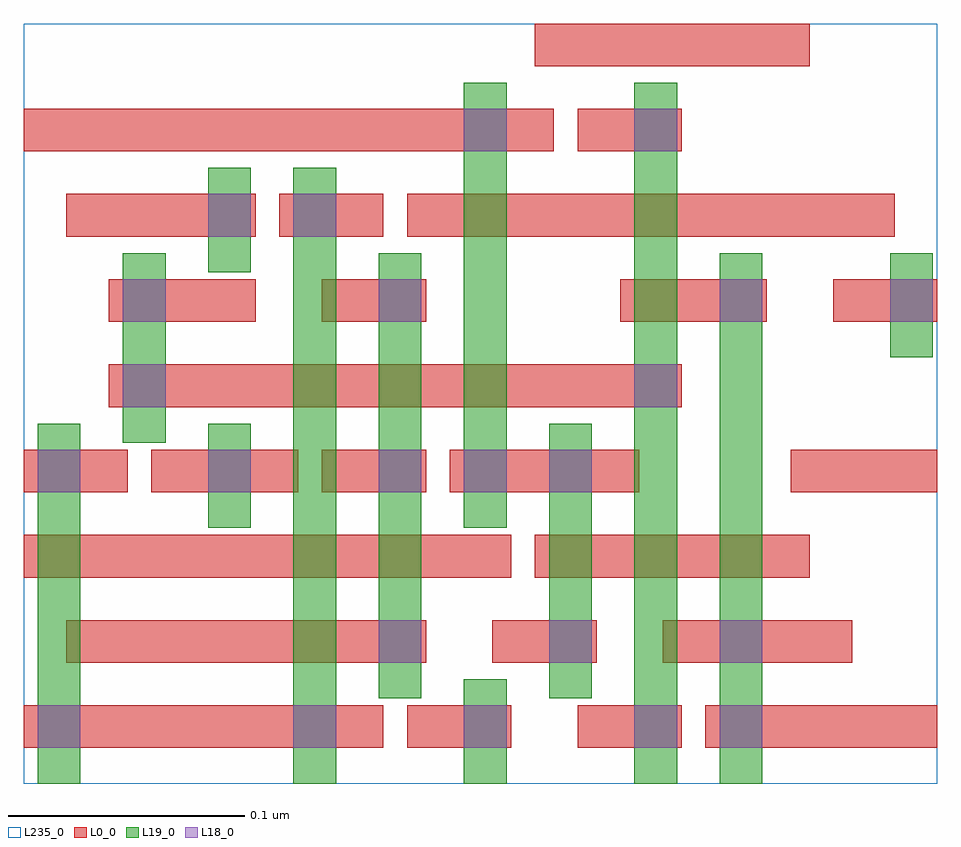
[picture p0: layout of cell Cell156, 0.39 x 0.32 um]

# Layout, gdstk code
import gdstk
lib = gdstk.Library(unit=1e-6, precision=2.5e-10)
def R(c, l, rs):  # rectangles x0, y0, x1, y1
    for r in rs: c.add(gdstk.rectangle(r[:2], r[2:], *l))
def A(c, l, x, y, w, h, nx, ny, dx, dy):  # array of equal rectangles
    R(c, l, [(x+i*dx, y+j*dy, x+i*dx+w, y+j*dy+h) for i in range(nx) for j in range(ny)])
L0_0 = (0, 0)
L18_0 = (18, 0)
L19_0 = (19, 0)
L235_0 = (235, 0)

cell156 = lib.new_cell('Cell156')
R(cell156, L0_0, [(0.004,-0.001,0.156,0.017), (0.166,-0.001,0.21,0.017), (0.238,-0.001,0.282,0.017), (0.292,-0.001,0.39,0.017), (0.022,0.035,0.174,0.053), (0.202,0.035,0.246,0.053), (0.274,0.035,0.354,0.053), (0.004,0.071,0.21,0.089), (0.22,0.071,0.336,0.089), (0.004,0.107,0.048,0.125), (0.058,0.107,0.12,0.125), (0.13,0.107,0.174,0.125), (0.184,0.107,0.264,0.125), (0.328,0.107,0.39,0.125), (0.04,0.143,0.282,0.161), (0.04,0.179,0.102,0.197), (0.13,0.179,0.174,0.197), (0.256,0.179,0.318,0.197), (0.346,0.179,0.39,0.197), (0.022,0.215,0.102,0.233), (0.112,0.215,0.156,0.233), (0.166,0.215,0.372,0.233), (0.004,0.251,0.228,0.269), (0.238,0.251,0.282,0.269), (0.22,0.287,0.336,0.305)])
A(cell156, L18_0, 0.118, -0.001, 0.018, 0.018, 3, 1, 0.072, 0)
A(cell156, L18_0, 0.154, 0.035, 0.018, 0.018, 3, 1, 0.072, 0)
A(cell156, L18_0, 0.01, 0.107, 0.018, 0.018, 3, 1, 0.072, 0)
R(cell156, L18_0, [(0.01,-0.001,0.028,0.017), (0.298,-0.001,0.316,0.017), (0.19,0.107,0.208,0.125), (0.226,0.107,0.244,0.125), (0.046,0.143,0.064,0.161), (0.262,0.143,0.28,0.161), (0.046,0.179,0.064,0.197), (0.154,0.179,0.172,0.197), (0.298,0.179,0.316,0.197), (0.37,0.179,0.388,0.197), (0.082,0.215,0.1,0.233), (0.118,0.215,0.136,0.233), (0.19,0.251,0.208,0.269), (0.262,0.251,0.28,0.269)])
R(cell156, L19_0, [(0.01,-0.016,0.028,0.136), (0.118,-0.016,0.136,0.244), (0.19,-0.016,0.208,0.028), (0.262,-0.016,0.28,0.28), (0.298,-0.016,0.316,0.208), (0.154,0.02,0.172,0.208), (0.226,0.02,0.244,0.136), (0.082,0.092,0.1,0.136), (0.19,0.092,0.208,0.28), (0.046,0.128,0.064,0.208), (0.37,0.164,0.388,0.208), (0.082,0.2,0.1,0.244)])
R(cell156, L235_0, [(0.004,-0.016,0.39,0.305)])

lib.write_gds('Cell156.gds')
